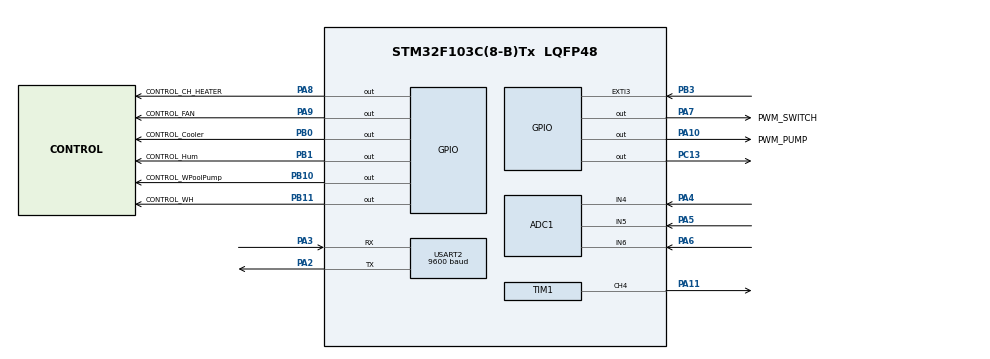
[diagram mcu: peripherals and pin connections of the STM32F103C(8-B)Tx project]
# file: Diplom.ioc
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ADC1.Channel-5\#ChannelRegularConversion=ADC_CHANNEL_4
ADC1.ContinuousConvMode=DISABLE
ADC1.EnableRegularConversion=ENABLE
ADC1.NbrOfConversionFlag=1
ADC1.Rank-5\#ChannelRegularConversion=1
ADC1.SamplingTime-5\#ChannelRegularConversion=ADC_SAMPLETIME_1CYCLE_5
ADC1.master=1
Dma.Request0=USART2_RX
Dma.USART2_RX.0.Direction=DMA_PERIPH_TO_MEMORY
Dma.USART2_RX.0.Instance=DMA1_Channel6
Dma.USART2_RX.0.MemDataAlignment=DMA_MDATAALIGN_BYTE
Dma.USART2_RX.0.MemInc=DMA_MINC_ENABLE
Dma.USART2_RX.0.Mode=DMA_CIRCULAR
Dma.USART2_RX.0.PeriphDataAlignment=DMA_PDATAALIGN_BYTE
Dma.USART2_RX.0.PeriphInc=DMA_PINC_DISABLE
Dma.USART2_RX.0.Priority=DMA_PRIORITY_LOW
Mcu.Family=STM32F1
Mcu.Name=STM32F103C(8-B)Tx
Mcu.Package=LQFP48
NVIC.DMA1_Channel6_IRQn=true\:1\:0\:true\:false\:true\:false\:false
NVIC.EXTI3_IRQn=true\:0\:0\:false\:false\:true\:true\:true
NVIC.PriorityGroup=NVIC_PRIORITYGROUP_4
NVIC.TIM1_CC_IRQn=true\:0\:0\:false\:false\:true\:true\:true
NVIC.TIM2_IRQn=true\:0\:0\:false\:false\:true\:true\:true
PA10.GPIO_Label=PWM_PUMP
PA10.Signal=GPIO_Output
PA11.Signal=S_TIM1_CH4
PA13.Mode=Serial_Wire
PA13.Signal=SYS_JTMS-SWDIO
PA14.Mode=Serial_Wire
PA14.Signal=SYS_JTCK-SWCLK
PA2.Mode=Asynchronous
PA2.Signal=USART2_TX
PA3.Mode=Asynchronous
PA3.Signal=USART2_RX
PA4.Signal=ADCx_IN4
PA5.Signal=ADCx_IN5
PA6.Signal=ADCx_IN6
PA7.GPIO_Label=PWM_SWITCH
PA7.Signal=GPIO_Output
PA8.GPIO_Label=CONTROL_CH_HEATER
PA8.Signal=GPIO_Output
PA9.GPIO_Label=CONTROL_FAN
PA9.Signal=GPIO_Output
PB0.GPIO_Label=CONTROL_Cooler
PB0.Signal=GPIO_Output
PB1.GPIO_Label=CONTROL_Hum
PB1.Signal=GPIO_Output
PB10.GPIO_Label=CONTROL_WPoolPump
PB10.Signal=GPIO_Output
PB11.GPIO_Label=CONTROL_WH
PB11.Signal=GPIO_Output
PB3.GPIO_ModeDefaultEXTI=GPIO_MODE_IT_RISING_FALLING
PB3.Signal=GPXTI3
PC13-TAMPER-RTC.Signal=GPIO_Output
PC14-OSC32_IN.Mode=LSE-External-Clock-Source
PC14-OSC32_IN.Signal=RCC_OSC32_IN
PC15-OSC32_OUT.Mode=LSE-External-Clock-Source
PC15-OSC32_OUT.Signal=RCC_OSC32_OUT
PD0-OSC_IN.Mode=HSE-External-Oscillator
PD0-OSC_IN.Signal=RCC_OSC_IN
PD1-OSC_OUT.Mode=HSE-External-Oscillator
PD1-OSC_OUT.Signal=RCC_OSC_OUT
ProjectManager.HeapSize=0x200
ProjectManager.StackSize=0x400
ProjectManager.TargetToolchain=TrueSTUDIO
RCC.ADCPresc=RCC_ADCPCLK2_DIV6
RCC.AHBFreq_Value=72000000
RCC.APB1CLKDivider=RCC_HCLK_DIV16
RCC.APB1Freq_Value=4500000
RCC.APB1TimFreq_Value=9000000
RCC.APB2CLKDivider=RCC_HCLK_DIV16
RCC.APB2Freq_Value=4500000
RCC.APB2TimFreq_Value=9000000
RCC.HCLKFreq_Value=72000000
RCC.PLLMUL=RCC_PLL_MUL9
RCC.PLLSourceVirtual=RCC_PLLSOURCE_HSE
RCC.SYSCLKFreq_VALUE=72000000
RCC.SYSCLKSource=RCC_SYSCLKSOURCE_PLLCLK
RCC.USBFreq_Value=72000000
SH.ADCx_IN4.0=ADC1_IN4,IN4
SH.ADCx_IN5.0=ADC1_IN5,IN5
SH.ADCx_IN6.0=ADC1_IN6,IN6
SH.S_TIM1_CH4.0=TIM1_CH4,PWM Generation4 CH4
TIM1.Channel-PWM\ Generation4\ CH4=TIM_CHANNEL_4
TIM1.Period=100-1
TIM1.Prescaler=900-1
TIM2.Period=1000-1
TIM2.Prescaler=9000-1
USART2.BaudRate=9600
USART2.VirtualMode=VM_ASYNC
VP_TIM1_VS_ClockSourceINT.Mode=Internal
VP_TIM2_VS_ClockSourceINT.Mode=Internal
board=custom

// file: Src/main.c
/* USER CODE BEGIN Header */
/**
  ******************************************************************************
  * @file           : main.c
  * @brief          : Main program body
  ******************************************************************************
  * @attention
  *
  * <h2><center>&copy; Copyright (c) 2020 STMicroelectronics.
  * All rights reserved.</center></h2>
  *
  * This software component is licensed by ST under BSD 3-Clause license,
  * the "License"; You may not use this file except in compliance with the
  * License. You may obtain a copy of the License at:
  *                        opensource.org/licenses/BSD-3-Clause
  *
  ******************************************************************************
  */

/* USER CODE END Header */

#include "main.h"
#include "adc.h"
#include "dma.h"
#include "tim.h"
#include "usart.h"
#include "gpio.h"

/* USER CODE BEGIN Includes */

#include "ringbuffer_dma.h"
#include "dwt.h"
#include "dht_22.h"
#include "ds18b20.h"
#include "rcc.h"
//#include "stm32f1xx_it.c"
/* USER CODE END Includes */

/* USER CODE BEGIN PV */
RingBuffer_DMA rx_buf;

uint8_t rx[BUF_SIZE]; // Array for DMA to save Rx bytes
uint32_t rx_count = 0;
uint32_t lastTick = 0;

enum STATUS status_Flag = STOP;
FLAG Write_LimitsFlag = FALSE;
FLAG Relay_PWMFlag = FALSE;
FLAG Pump_TimingFlag = FALSE;
FLAG Status_WorkingRelayFlag = FALSE;

char cmd[60];
uint8_t icmd = 0;
/* Array for Tx messages */
uint8_t tx[100];

char commandStr[30];
char Lower_Buffer[20];
char Upper_Buffer[20];
char Critical_Buffer[20];

uint16_t adc_buf[3];// ADC value
uint16_t sensors_Data[3];
uint8_t pHSensorsValue = 0;
uint32_t Resistance_MQ135;

extern uint8_t Night_Flag;

uint32_t array_ADC_CH[3] = {ADC_CHANNEL_4, ADC_CHANNEL_5, ADC_CHANNEL_6};

const char *GHTEMP = "GHTEMP=";
const char *GHRH = "GHRH=";
const char *PH = "PH=";
const char *PWMPUMP = "PWMPUMP=";
const char *LIGHT = "LIGHT=";
const char *CRIT_RH = "CRIT_RH=";
const char *CRIT_CO = "CRIT_CO=";
const char *PIPE_DELAY = "PIPE_DELAY=";
const char *POOL_DELAY = "POOL_DELAY=";

bytes_Sensors_t bytesOfDHT11;
bytes_Sensors_t bytesOfDS18B20;
result_valuesOfSensors_t valuesOfDHT11;
result_valuesOfSensors_t valuesOfDS18B20;

Sensors_UpperLimitParameters_t UpLimit = { 30, 90, 8 };
Sensors_LowerLimitParameters_t LowLimit = { 15, 20, 4};
Sensors_CriticalParameters_t CriticalParameters = { 1500, 80, 2500 };
Time_Delays_t Delays = {0, 0, 0};
ResultValue_Foto_t Foto_Result = {0,0};

Filling_Factor_PWM_t Filling_Factor = {0,0};
Installation_TimersCountrs_t Timer_Counter = {0,0,0,0,0};

int Value_Settings = 0;
uint8_t millisecondsDelay_PWM = 0;
extern uint8_t Delay_PWMFlag;

uint8_t Presence = 0;
/* USER CODE END PV */

void SystemClock_Config(void);
/* USER CODE BEGIN PFP */

void Process_Command(char * command);
void Info_Sensors();
void Measure_DigitalSensors(void);
void Transforming_DataAnalogSensors(void);
void Set_LimitSettings(void);
void Answer_OK(void);
void Answer_UnknownParameter(void);
void write_Limits(void);
void Stop_Periphery(void);
void Start_Periphery(void);
void Relay_Algorithm(void);
void PWM_Algorithm(void);

/* USER CODE END PFP */

int main(void)
{

  /* MCU Configuration--------------------------------------------------------*/

  /* Reset of all peripherals, Initializes the Flash interface and the Systick. */
  HAL_Init();

  /* Configure the system clock */
  SystemClock_Config();

  /* Initialize all configured peripherals */
  MX_GPIO_Init();
  MX_DMA_Init();
  MX_USART2_UART_Init();
  MX_ADC1_Init();
  MX_TIM2_Init();
  MX_TIM1_Init();
  /* USER CODE BEGIN 2 */

  RingBuffer_DMA_Init(&rx_buf, huart2.hdmarx, rx, BUF_SIZE);
  HAL_UART_Receive_DMA(&huart2, rx, BUF_SIZE);

  HAL_TIM_Base_Start_IT(&htim2);

  HAL_TIM_PWM_Start_IT(&htim1, TIM_CHANNEL_3);
  HAL_TIM_PWM_Start_IT(&htim1, TIM_CHANNEL_4);

  DWT_DelayUpdate();
  DWT_Init();

  /* USER CODE END 2 */

  /* Infinite loop */
  while (1)
  {

    /* USER CODE BEGIN 3 */
	  if(Delay_PWMFlag){
		  DWT_Delay_ms((uint32_t)millisecondsDelay_PWM);
		  if(millisecondsDelay_PWM != 10)	HAL_GPIO_WritePin(GPIOA, PWM_PUMP_Pin,0);
		  Delay_PWMFlag = 0;
	  }
	  switch(status_Flag)
	  {
	  case SETTINGS:
		  if (HAL_GetTick() - lastTick > 1000)
		  {
			  //Measure_DigitalSensors();
			  Info_Sensors();
			  write_Limits();
			  lastTick = HAL_GetTick();
		  }
		  break;
	  case START:
		  Start_Periphery();
		  Relay_Algorithm();
		  PWM_Algorithm();
		  break;
	  case STOP:
		  Stop_Periphery();
		  break;
	  }

	  Transforming_DataAnalogSensors();

		rx_count = RingBuffer_DMA_Count(&rx_buf);
		while (rx_count--) {
			uint8_t b = RingBuffer_DMA_GetByte(&rx_buf);
			if (b == '\n') {
				cmd[icmd] = 0;
				icmd = 0;
				int i = 0;
				memset(commandStr,0,sizeof(commandStr));
				while(cmd[i]){
					commandStr[i]=cmd[i];
					i++;
				}
				Set_LimitSettings();
				Process_Command(cmd);
			} else if (b == '\r') {
				continue;
			} else {
				cmd[icmd++] = b;
			}
		}
  }
  /* USER CODE END 3 */
}

/* USER CODE BEGIN 4 */
void Process_Command(char * command)
{
	if(strcmp(command,"STOP") == 0)
	{
	  	status_Flag = STOP;
	  	sprintf((char *) tx,"Installation STOP\r\n");
	}
	else if(strcmp(command,"SETTINGS") == 0)
	{
	  	status_Flag = SETTINGS;
	  	sprintf((char *) tx,"Installation settings\r\n");
	}
	else if((strcmp(command,"WRON_LIMITS") == 0) && (status_Flag == SETTINGS))
	{
		Write_LimitsFlag = TRUE;
	}
	else if((strcmp(command,"WROFF_LIMITS") == 0) && (status_Flag == SETTINGS))
	{
		Write_LimitsFlag = FALSE;
	}
	else if(strcmp(command,"START") == 0)
	{
	  	status_Flag = START;
	  	sprintf((char *) tx, "Installation START\r\n");
		millisecondsDelay_PWM = Filling_Factor.FillingFactor_PumpPWM/10;
	}
  	else
  		sprintf((char *) tx, "command unknown\r\n");
  	HAL_UART_Transmit(&huart2, tx, strlen((char *) tx), 100);
}

void Info_Sensors()
{
		sprintf((char *) tx, "GH_T=%dC, GH_RH=%d%%, S_T=%dC\r\n", valuesOfDHT11.TEMP_DHT11, valuesOfDHT11.RH_DHT11, valuesOfDS18B20.TEMP_DS18B20);
		HAL_UART_Transmit(&huart2, tx, strlen((char *) tx), 100);

		sprintf((char *) tx, "CO2=%d ppm, PH=%d pH, FOTO=%d Lx\r\n\r\n", sensors_Data[0], sensors_Data[1], sensors_Data[2]);
		HAL_UART_Transmit(&huart2, tx, strlen((char *) tx), 100);
}

void Measure_DigitalSensors(void)
{
	DHT11_Start();
	Presence = DHT11_Check_Response();
	bytesOfDHT11.Rh_dht11_byte1 = DHT11_Read ();
	bytesOfDHT11.Rh_dht11_byte2 = DHT11_Read ();
	bytesOfDHT11.Temp_dht11_byte1 = DHT11_Read ();
	bytesOfDHT11.Temp_dht11_byte2 = DHT11_Read ();

	valuesOfDHT11.SUM_DHT11 = DHT11_Read();
	valuesOfDHT11.TEMP_DHT11 = bytesOfDHT11.Temp_dht11_byte1;
	valuesOfDHT11.RH_DHT11 = bytesOfDHT11.Rh_dht11_byte1;

	Presence = DS18B20_Start ();
	HAL_Delay (1);
	DS18B20_Write (0xCC);  // skip ROM
	DS18B20_Write (0x44);  // convert t
	HAL_Delay (800);

	Presence = DS18B20_Start ();
	HAL_Delay(1);
	DS18B20_Write (0xCC);  // skip ROM
	DS18B20_Write (0xBE);  // Read Scratch-pad

	bytesOfDS18B20.Temp_ds18b20_byte1 = DS18B20_Read();
	bytesOfDS18B20.Temp_ds18b20_byte2 = DS18B20_Read();

	valuesOfDS18B20.TEMP_DS18B20 = (bytesOfDS18B20.Temp_ds18b20_byte2<<8)|bytesOfDS18B20.Temp_ds18b20_byte1;
	valuesOfDS18B20.TEMP_DS18B20 = valuesOfDS18B20.TEMP_DS18B20/16;

}

void Transforming_DataAnalogSensors(void)
{

	for(int i = 0; i < 3; i++)
	{
		adc_buf[i] = ADC_GetValue(array_ADC_CH[i]);
	}
	sensors_Data[0] = adc_buf[0]/16;
	sensors_Data[1] = (14 * adc_buf[1])/4096;
	Foto_Result.Foto_Resistence = (adc_buf[2]*RESISTENCE)/(4095-adc_buf[2]);
	sensors_Data[2] = pow(10, (log10(RES_ON1LUX/Foto_Result.Foto_Resistence)/GAMMA));
}

void Answer_OK(void)
{
	sprintf((char *) tx, "OK\r\n");
	HAL_UART_Transmit(&huart2, tx, strlen((char *) tx), 100);
}

void Answer_UnknownParameter(void)
{
	sprintf((char *) tx, "Uknown Parameter\r\n");
	HAL_UART_Transmit(&huart2, tx, strlen((char *) tx), 100);
}

void write_Limits()
{
	if(Write_LimitsFlag == TRUE)
	{
		sprintf((char *) tx, "GHTEMP=[%d,%d]C;\r\n", LowLimit.GHTemp_LowerLimit, UpLimit.GHTemp_UpperLimit);
		HAL_UART_Transmit(&huart2, tx, strlen((char *) tx), 100);
		sprintf((char *) tx, "GHRH=[%d,%d]%%;\r\n",   LowLimit.GHRh_LowerLimit, UpLimit.GHRh_UpperLimit);
		HAL_UART_Transmit(&huart2, tx, strlen((char *) tx), 100);
		sprintf((char *) tx, "PH=[%d,%d];\r\n",     LowLimit.Ph_LowerLimit, UpLimit.Ph_UpperLimit);
		HAL_UART_Transmit(&huart2, tx, strlen((char *) tx), 100);
		sprintf((char *) tx, "PWMPUMP=%d%% ;\r\n", 	Filling_Factor.FillingFactor_PumpPWM);
		HAL_UART_Transmit(&huart2, tx, strlen((char *) tx), 100);
		sprintf((char *) tx, "LIGHT=%d Lx;\r\n", 	CriticalParameters.Foto_CriticalValue);
		HAL_UART_Transmit(&huart2, tx, strlen((char *) tx), 100);
		sprintf((char *) tx, "CRIT_CO=%d ppm;\r\n", 	CriticalParameters.CO_CriticalValue);
		HAL_UART_Transmit(&huart2, tx, strlen((char *) tx), 100);
		sprintf((char *) tx, "PIPE_DELAY=%d min;\r\n", 		Delays.TimePipe_PumpDelay);
		HAL_UART_Transmit(&huart2, tx, strlen((char *) tx), 100);
		sprintf((char *) tx, "POOL_DELAY=%d min;\r\n\r\n", 		Delays.TimePool_PumpDelay);
		HAL_UART_Transmit(&huart2, tx, strlen((char *) tx), 100);
	}
}

void Set_LimitSettings()
{
	if(status_Flag == SETTINGS)
	{
		if (strncmp(commandStr, GHTEMP, 7)==0)
		{
			strncpy(Lower_Buffer,commandStr+7,2);
			strncpy(Upper_Buffer,commandStr+10,2);

			Value_Settings = atoi(Lower_Buffer);
			if((Value_Settings < 15) || (Value_Settings > 30))		Answer_UnknownParameter();
			else
			{
				LowLimit.GHTemp_LowerLimit = Value_Settings;
				Answer_OK();
			}
			Value_Settings = 0;

			Value_Settings = atoi(Upper_Buffer);
			if((Value_Settings < 15) || (Value_Settings > 30))		Answer_UnknownParameter();
			else
			{
				UpLimit.GHTemp_UpperLimit = Value_Settings;
				Answer_OK();
			}
			Value_Settings = 0;
		}

		if (strncmp(commandStr, GHRH, 5)==0)
		{
			strncpy(Lower_Buffer,commandStr+5,2);
			strncpy(Upper_Buffer,commandStr+8,2);

			Value_Settings = atoi(Lower_Buffer);
			if((Value_Settings < 20) || (Value_Settings > 90))		Answer_UnknownParameter();
			else
			{
				LowLimit.GHRh_LowerLimit = Value_Settings;
				Answer_OK();
			}
			Value_Settings = 0;

			Value_Settings = atoi(Upper_Buffer);
			if((Value_Settings < 20) || (Value_Settings > 90))		Answer_UnknownParameter();
			else
			{
				UpLimit.GHRh_UpperLimit = Value_Settings;
				Answer_OK();
			}
			Value_Settings = 0;
		}

		if (strncmp(commandStr, PH, 3)==0)
		{
			strncpy(Lower_Buffer,commandStr+3,1);
			strncpy(Upper_Buffer,commandStr+5,1);

			Value_Settings = atoi(Lower_Buffer);
			if((Value_Settings < 4) || (Value_Settings > 8))		Answer_UnknownParameter();
			else
			{
				LowLimit.Ph_LowerLimit = Value_Settings;
				Answer_OK();
			}
			Value_Settings = 0;

			Value_Settings = atoi(Upper_Buffer);
			if((Value_Settings < 4) || (Value_Settings > 8))		Answer_UnknownParameter();
			else
			{
				UpLimit.Ph_UpperLimit = Value_Settings;
				Answer_OK();
			}
			Value_Settings = 0;
		}

		if (strncmp(commandStr, PWMPUMP, 8)==0)
		{
			strncpy(Critical_Buffer,commandStr+8,2);
			Value_Settings = atoi(Critical_Buffer);
			if((Value_Settings < 10) || (Value_Settings > 100))		Answer_UnknownParameter();
			else
			{
				Filling_Factor.FillingFactor_PumpPWM = Value_Settings;
				Answer_OK();
			}
			Value_Settings = 0;
		}
		if (strncmp(commandStr, LIGHT, 6)==0)
		{
			strncpy(Critical_Buffer,commandStr+6,4);
			Value_Settings = atoi(Critical_Buffer);
			if((Value_Settings < 0) || (Value_Settings > 3000))		Answer_UnknownParameter();
			else
			{
				CriticalParameters.Foto_CriticalValue = Value_Settings;
				Answer_OK();
			}
			Value_Settings = 0;
		}
		if (strncmp(commandStr, CRIT_CO, 8)==0)
		{
			strncpy(Critical_Buffer,commandStr+8,4);
			Value_Settings = atoi(Critical_Buffer);
			if((Value_Settings < 100) || (Value_Settings > 2500))	Answer_UnknownParameter();
			else
			{
				CriticalParameters.CO_CriticalValue = Value_Settings;
				Answer_OK();
			}
			Value_Settings = 0;
		}
		if (strncmp(commandStr, PIPE_DELAY, 11)==0)
		{
			strncpy(Critical_Buffer,commandStr+11,2);
			Value_Settings = atoi(Critical_Buffer);
			if((Value_Settings <= 0) || (Value_Settings > 20))		Answer_UnknownParameter();
			else
			{
				Delays.TimePipe_PumpDelay = Value_Settings;
				Answer_OK();
			}
			Value_Settings = 0;
		}
		if (strncmp(commandStr, POOL_DELAY, 11)==0)
		{
			strncpy(Critical_Buffer,commandStr+11,2);
			Value_Settings = atoi(Critical_Buffer);
			if((Value_Settings <= 0) || (Value_Settings > 5))		Answer_UnknownParameter();
			else
			{
				Delays.TimePool_PumpDelay = Value_Settings;
				Answer_OK();
			}
			Value_Settings = 0;
		}

	}
}

void Start_Periphery(void)
{
	Write_LimitsFlag = FALSE;
	Pump_TimingFlag = TRUE;
	HAL_GPIO_WritePin(GPIOB, PWM_SWITCH_Pin, 1);
}
void Stop_Periphery(void)
{
	Write_LimitsFlag = FALSE;
	Pump_TimingFlag = FALSE;
	HAL_GPIO_WritePin(GPIOB, PWM_SWITCH_Pin, 0);

	Timer_Counter.DayDelay_Hour_Counter = 0;
	Timer_Counter.DayDelay_Minute_Counter = 0;
	Timer_Counter.PipePump_Minute_Counter = 0;
	Timer_Counter.PoolPump_Minute_Counter = 0;
	Timer_Counter.Second_Counter = 0;

	Filling_Factor.FillingFactor_LedPWM = 0;
	Filling_Factor.FillingFactor_PumpPWM = 0;
}
void Relay_Algorithm(void)
{
	if(valuesOfDS18B20.TEMP_DS18B20 > POOLTEMP_UPLIM)			HAL_GPIO_WritePin(GPIOB, CONTROL_Cooler_Pin, 1);
	else if(valuesOfDS18B20.TEMP_DS18B20 < POOLTEMP_LOWLIM)		HAL_GPIO_WritePin(GPIOB, CONTROL_WH_Pin, 1);
	else{
		HAL_GPIO_WritePin(GPIOB, CONTROL_WH_Pin, 0);
		HAL_GPIO_WritePin(GPIOB, CONTROL_Cooler_Pin, 0);
	}

	if(valuesOfDHT11.TEMP_DHT11 > UpLimit.GHTemp_UpperLimit)			HAL_GPIO_WritePin(GPIOB, CONTROL_FAN_Pin, 1);
	else if(valuesOfDHT11.TEMP_DHT11 < LowLimit.GHTemp_LowerLimit){
		HAL_GPIO_WritePin(GPIOB, CONTROL_FAN_Pin, 1);
		HAL_GPIO_WritePin(GPIOB, CONTROL_CH_HEATER_Pin, 1);
	}
	else{
		HAL_GPIO_WritePin(GPIOB, CONTROL_FAN_Pin, 0);
		HAL_GPIO_WritePin(GPIOB, CONTROL_CH_HEATER_Pin, 0);
	}

	if(valuesOfDHT11.RH_DHT11 > UpLimit.GHRh_UpperLimit)		HAL_GPIO_WritePin(GPIOB, CONTROL_FAN_Pin, 1);
	else if(valuesOfDHT11.RH_DHT11 > UpLimit.GHRh_UpperLimit)	HAL_GPIO_WritePin(GPIOB, CONTROL_Hum_Pin, 1);
	else{
		HAL_GPIO_WritePin(GPIOB, CONTROL_Hum_Pin, 0);
		HAL_GPIO_WritePin(GPIOB, CONTROL_FAN_Pin, 0);
	}

	if(sensors_Data[0] > CriticalParameters.CO_CriticalValue)	HAL_GPIO_WritePin(GPIOB, CONTROL_FAN_Pin, 1);
	else	HAL_GPIO_WritePin(GPIOB, CONTROL_FAN_Pin, 0);
}

void PWM_Algorithm(void)
{
	if(!Night_Flag){
		if(sensors_Data[2] < CriticalParameters.Foto_CriticalValue)		Filling_Factor.FillingFactor_LedPWM++;
		if(sensors_Data[2] > CriticalParameters.Foto_CriticalValue)		Filling_Factor.FillingFactor_LedPWM--;
	}
	else	Filling_Factor.FillingFactor_LedPWM = 0;
}

/* USER CODE END 4 */

void Error_Handler(void)
{
}

/************************ (C) COPYRIGHT STMicroelectronics *****END OF FILE****/
